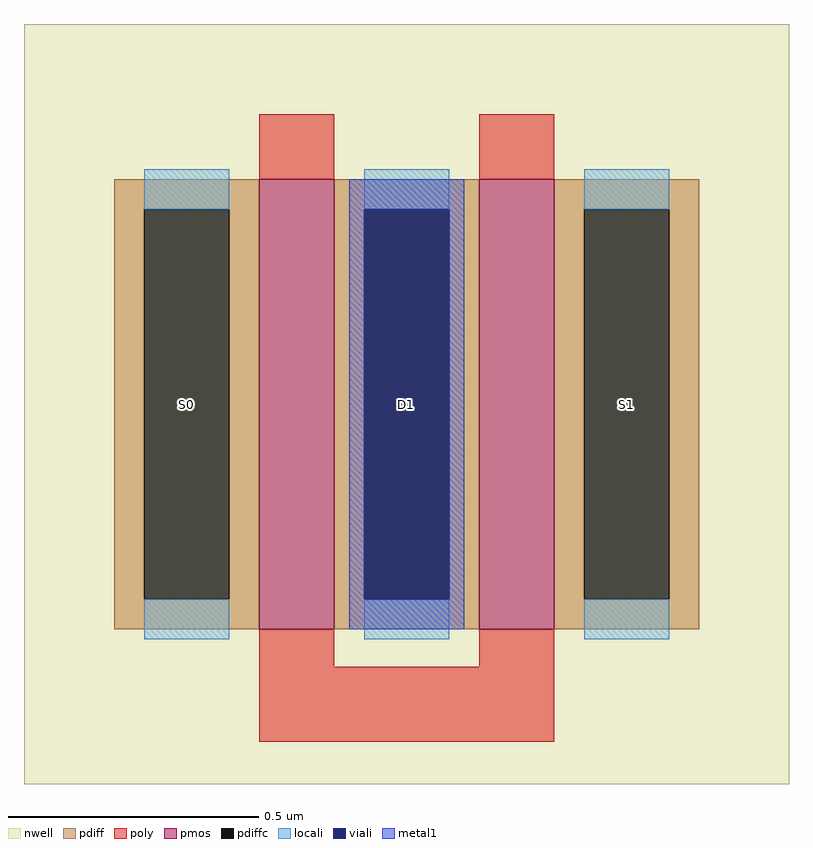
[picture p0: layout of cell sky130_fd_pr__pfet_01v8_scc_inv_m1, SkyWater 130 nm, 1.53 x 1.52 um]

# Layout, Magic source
magic
tech sky130A
magscale 1 2
<< nwell >>
rect 1370 -930 1676 -626
<< pmos >>
rect 1464 -868 1494 -688
rect 1552 -868 1582 -688
<< pdiff >>
rect 1406 -700 1464 -688
rect 1406 -856 1418 -700
rect 1452 -856 1464 -700
rect 1406 -868 1464 -856
rect 1494 -700 1552 -688
rect 1494 -856 1506 -700
rect 1540 -856 1552 -700
rect 1494 -868 1552 -856
rect 1582 -700 1640 -688
rect 1582 -856 1594 -700
rect 1628 -856 1640 -700
rect 1582 -868 1640 -856
<< pdiffc >>
rect 1418 -856 1452 -700
rect 1506 -856 1540 -700
rect 1594 -856 1628 -700
<< poly >>
rect 1464 -688 1494 -662
rect 1552 -688 1582 -662
rect 1464 -883 1494 -868
rect 1552 -883 1582 -868
rect 1464 -913 1582 -883
<< locali >>
rect 1418 -700 1452 -684
rect 1418 -872 1452 -856
rect 1506 -700 1540 -684
rect 1506 -872 1540 -856
rect 1594 -700 1628 -684
rect 1594 -872 1628 -856
<< viali >>
rect 1506 -856 1540 -700
<< metal1 >>
rect 1500 -700 1546 -688
rect 1500 -856 1506 -700
rect 1540 -856 1546 -700
rect 1500 -868 1546 -856
<< labels >>
rlabel pdiffc 1523 -778 1523 -778 0 D1
port 3 nsew
rlabel pdiffc 1611 -778 1611 -778 0 S1
port 4 nsew
rlabel pdiffc 1523 -778 1523 -778 0 D0
port 1 nsew
rlabel pdiffc 1435 -778 1435 -778 0 S0
port 2 nsew
<< end >>
